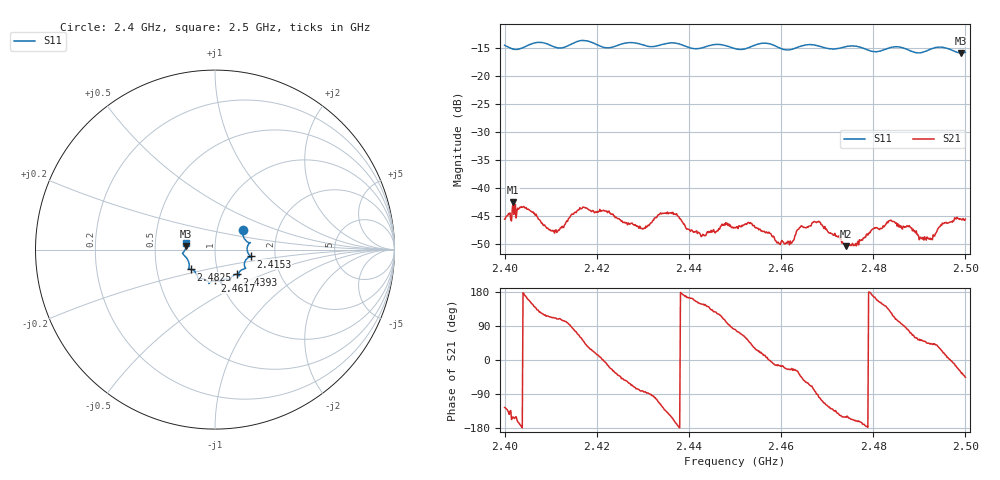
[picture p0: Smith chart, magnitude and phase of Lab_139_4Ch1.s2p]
# Hz S RI R 50
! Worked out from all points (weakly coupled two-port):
!   601 points, 2.4 GHz to 2.5 GHz, reference 50 ohm
!   highest |S21| = -42.58 dB at 2.4018 GHz (marker M1); lowest = -50.5 dB at 2.4742 GHz (marker M2)
!   lowest |S11| = -15.8 dB at 2.499 GHz (marker M3), VSWR 1.39, Z = 36.2 + j1.4 ohm
!   |S11| at or under -10 dB: start of sweep to end of sweep
!   S12 and S22 are empty: the file has one direction only
!   S11 on the Smith chart (normalised r, x): 2.4 GHz: 1.33, +0.30; 2.4153 GHz: 1.49, -0.12; 2.4393 GHz: 1.23, -0.35; 2.4617 GHz: 0.94, -0.33; 2.4825 GHz: 0.75, -0.17; 2.5 GHz: 0.72, +0.05
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2.4e9  0.1553 0.1084  -0.00303 -0.00427  0 0  0 0
2.401833e9  0.1565 0.0782  -0.00645 -0.0037  0 0  0 0
2.404667e9  0.1809 0.0423  -0.00649 0.00149  0 0  0 0
2.411e9  0.1807 0.0172  -0.00151 0.00389  0 0  0 0
2.415333e9  0.198 -0.0379  0.0015 0.00586  0 0  0 0
2.416667e9  0.2045 -0.0421  0.00344 0.00549  0 0  0 0
2.43e9  0.1561 -0.1096  0.000631 -0.00422  0 0  0 0
2.433333e9  0.1323 -0.1338  -0.00198 -0.00538  0 0  0 0
2.437e9  0.1344 -0.1458  -0.0056 -0.00156  0 0  0 0
2.439333e9  0.1231 -0.1382  -0.00429 0.00083  0 0  0 0
2.443167e9  0.089 -0.1578  -0.00318 0.00206  0 0  0 0
2.45e9  0.0659 -0.164  0.000712 0.00432  0 0  0 0
2.453167e9  0.0375 -0.1778  0.0033 0.00346  0 0  0 0
2.461667e9  8.53e-05 -0.1721  0.00296 -0.00132  0 0  0 0
2.466667e9  -0.0336 -0.1887  0.00174 -0.00447  0 0  0 0
2.474167e9  -0.0885 -0.1622  -0.00263 -0.00143  0 0  0 0
2.4825e9  -0.1335 -0.1107  -0.00365 0.00273  0 0  0 0
2.483333e9  -0.1406 -0.11  -0.00347 0.00366  0 0  0 0
2.492333e9  -0.1707 -0.0326  0.00264 0.00236  0 0  0 0
2.495167e9  -0.1801 -0.0198  0.00451 0.00155  0 0  0 0
2.499e9  -0.1604 0.0189  0.00448 -0.00276  0 0  0 0
2.5e9  -0.1597 0.0365  0.00366 -0.00375  0 0  0 0
